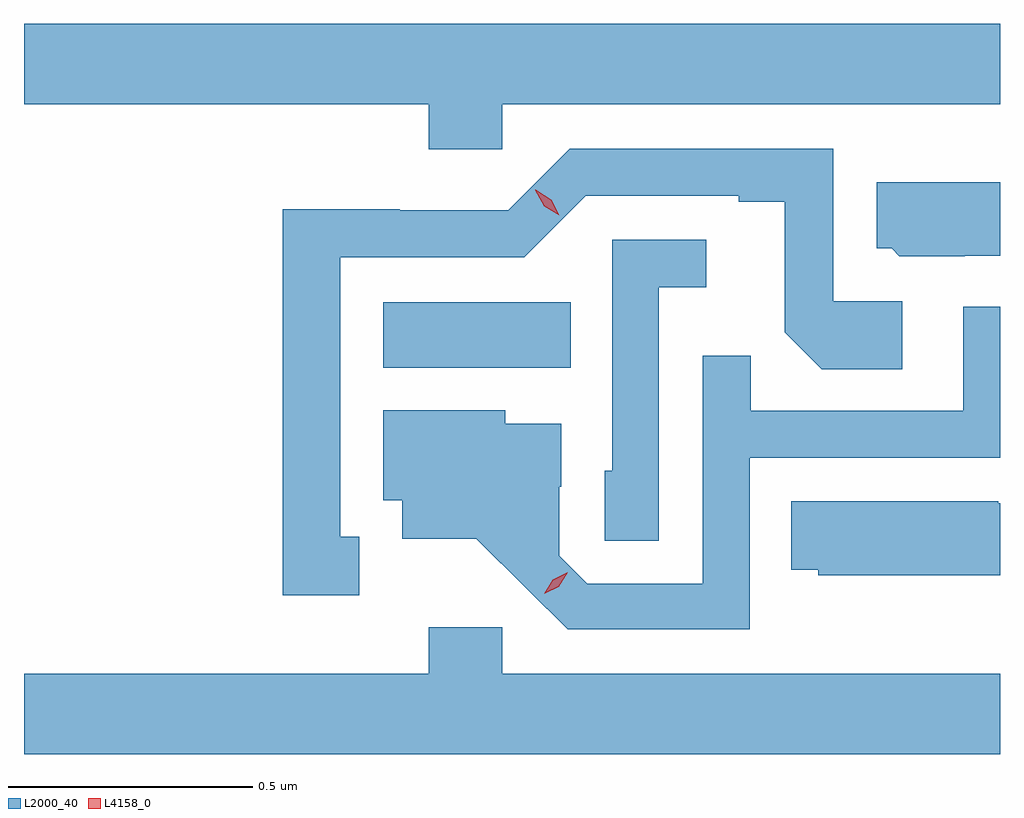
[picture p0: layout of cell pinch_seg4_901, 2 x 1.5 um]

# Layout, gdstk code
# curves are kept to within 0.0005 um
import gdstk
lib = gdstk.Library(unit=1e-6, precision=1e-09)
def R(c, l, rs):  # rectangles x0, y0, x1, y1
    for r in rs: c.add(gdstk.rectangle(r[:2], r[2:], *l))
def P(c, l, *ps):  # polygons
    for p in ps: c.add(gdstk.Polygon(p, *l))
L2000_40 = (2000, 40)
L4158_0 = (4158, 0)

pinch_seg4_901 = lib.new_cell('pinch_seg4_901')
R(pinch_seg4_901, L2000_40, [(700.808,824.252,701.192,824.386)])
P(pinch_seg4_901, L2000_40, [(701.052,824.792),(702.072,824.792),(702.072,824.956),(700.072,824.956),(700.072,824.792),(700.901,824.792),(700.901,824.699),(701.052,824.699)],
  [(700.759,823.905),(700.72,823.905),(700.72,824.478),(701.097,824.478),(701.223,824.604),(701.537,824.604),(701.537,824.592),(701.631,824.592),(701.631,824.324),(701.707,824.248),(701.872,824.248),(701.872,824.388),(701.73,824.388),(701.73,824.7),(701.19,824.7),(701.064,824.574),(700.842,824.574),(700.842,824.576),(700.602,824.576),(700.602,823.785),(700.759,823.785)],
  [(702,824.481),(702.072,824.481),(702.072,824.632),(701.819,824.632),(701.819,824.496),(701.85,824.496),(701.866,824.48),(702,824.48)],
  [(701.373,824.417),(701.47,824.417),(701.47,824.514),(701.277,824.514),(701.277,824.04),(701.262,824.04),(701.262,823.897),(701.373,823.897)],
  [(701.559,824.067),(702.072,824.067),(702.072,824.377),(701.997,824.377),(701.997,824.163),(701.561,824.163),(701.561,824.276),(701.463,824.276),(701.463,823.809),(701.226,823.809),(701.169,823.866),(701.169,824.008),(701.173,824.008),(701.173,824.137),(701.058,824.137),(701.058,824.164),(700.808,824.164),(700.808,823.98),(700.847,823.98),(700.847,823.901),(700.999,823.901),(701.186,823.716),(701.559,823.716)],
  [(702.072,823.974),(702.068,823.974),(702.068,823.978),(701.644,823.978),(701.644,823.838),(701.7,823.838),(701.7,823.826),(702.072,823.826)],
  [(702.072,823.624),(701.052,823.624),(701.052,823.72),(700.901,823.72),(700.901,823.624),(700.072,823.624),(700.072,823.46),(702.072,823.46)])
P(pinch_seg4_901, L4158_0, [(701.138,823.788),(701.138,823.788),(701.155,823.817),(701.186,823.832),(701.186,823.832),(701.186,823.832),(701.168,823.803),(701.138,823.788)],
  [(701.169,824.564),(701.138,824.583),(701.12,824.615),(701.12,824.616),(701.121,824.616),(701.152,824.596),(701.169,824.564),(701.169,824.564)])

lib.write_gds('pinch_seg4_901.gds')
